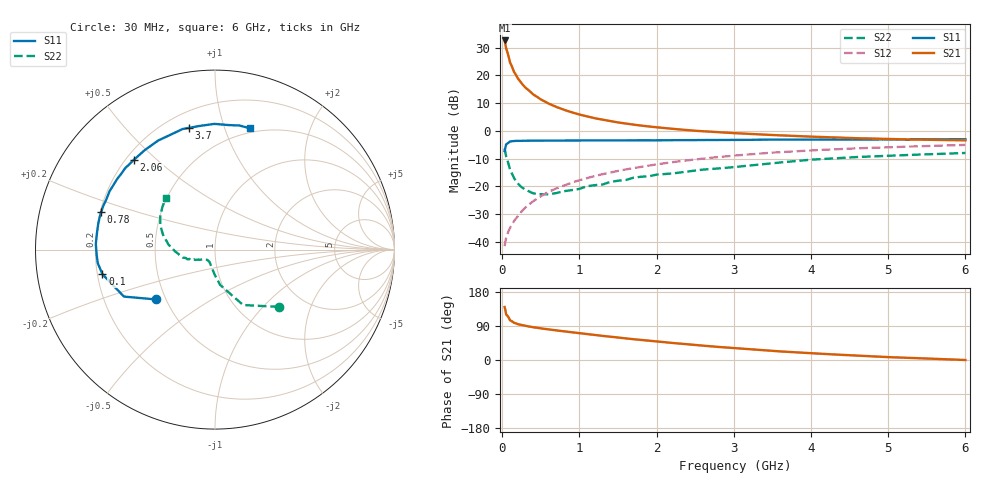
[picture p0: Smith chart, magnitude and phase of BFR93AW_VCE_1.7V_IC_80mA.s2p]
! Infineon Technologies  Discrete & RF Semiconductors
! BFR93AW
! VCE =  1.7 V,  IC =  80 mA
! Common Emitter S-Parameters:  Nov 2015
# GHz  S  MA  R  50
!  f  S11  S21  S12  S22
! GHz  MAG  ANG  MAG  ANG  MAG  ANG  MAG  ANG
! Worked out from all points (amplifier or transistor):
!   206 points, 30 MHz to 6 GHz, reference 50 ohm
!   highest |S21| = 32.6 dB at 30 MHz (marker M1)
!   |S21| within 3 dB of that: start of sweep to 51.99 MHz
!   unconditionally stable (mu >= 1): 97.4 MHz to end of sweep
!   at 200 MHz: K = 1.20, MAG = 22.2 dB, |S12| = -30.8 dB
!   at 1.56 GHz: K = 1.20, MAG = 5.8 dB, |S12| = -14.1 dB
!   at 6 GHz: K = 1.03, MAG = -0.2 dB, |S12| = -5.1 dB
!   S11 on the Smith chart (normalised r, x): 30 MHz: 0.44, -0.30; 100 MHz: 0.22, -0.10; 780 MHz: 0.20, +0.16; 2.06 GHz: 0.23, +0.43; 3.7 GHz: 0.29, +0.77; 6 GHz: 0.46, +1.22
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0.03  0.4309 -139.9  42.64 139.9  0.0083 60.0  0.4785 -41.8
0.05  0.5708 -152.7  30.76 120.1  0.0118 55.8  0.3463 -63.1
0.1  0.6421 -167.7  17.17 104.6  0.0177 63.7  0.1991 -81.7
0.15  0.6576 -173.5  11.71 98.5  0.0233 67.0  0.141 -90.6
0.2  0.6599 -177.5  8.901 94.6  0.0289 70.8  0.1129 -96.9
0.24  0.6618 179.9  7.502 92.6  0.0338 72.5  0.0991 -101.5
0.26  0.6629 178.8  6.923 91.6  0.0363 73.0  0.094 -103.5
0.3  0.6648 177.3  6.002 89.8  0.0414 73.6  0.0869 -106.3
0.4  0.664 173.1  4.538 86.4  0.0536 75.0  0.0745 -114.7
0.5  0.6647 169.8  3.674 83.4  0.0661 75.1  0.0718 -123.4
0.6  0.6667 167.0  3.097 80.8  0.0791 75.0  0.0717 -127.2
0.78  0.668 161.5  2.445 76.1  0.1009 74.1  0.0801 -136.6
1.04  0.6673 154.8  1.904 69.9  0.1333 71.9  0.0938 -143.7
1.2  0.6716 151.1  1.685 66.1  0.153 70.2  0.1049 -146.9
1.48  0.6724 144.9  1.431 59.7  0.1865 67.3  0.1245 -152.5
2.02  0.6744 132.8  1.148 48.3  0.2501 61.1  0.1629 -160.8
2.06  0.6744 132.0  1.134 47.6  0.2548 60.6  0.1644 -161.5
3.1  0.6855 112.0  0.894 30.0  0.366 47.8  0.2288 -179.2
3.7  0.6935 102.0  0.817 21.6  0.4195 40.3  0.276 169.5
4.1  0.6946 95.9  0.776 16.8  0.4502 35.4  0.3071 162.4
5.1  0.6982 83.3  0.707 6.9  0.511 24.2  0.3598 147.3
6  0.7035 74.0  0.674 0.0  0.5568 15.3  0.3983 133.7
